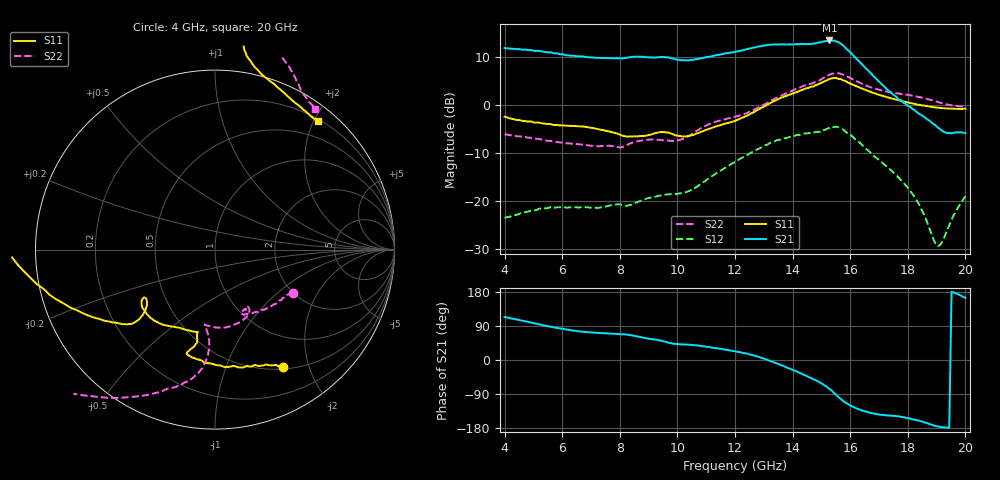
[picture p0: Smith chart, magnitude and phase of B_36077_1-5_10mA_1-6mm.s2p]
!Agilent Technologies,E8364A,US41440284,A.06.04.32
!Agilent E8364A: A.06.04.32
!Date: Wednesday, May 24, 2023 11:18:08
!Correction: S11(Full 2 Port(1,2)) S21(Full 2 Port(1,2)) S12(Full 2 Port(1,2)) S22(Full 2 Port(1,2))
!S2P File: Measurements: S11, S21, S12, S22:
# Hz S  RI  R 50
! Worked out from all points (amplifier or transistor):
!   201 points, 4 GHz to 20 GHz, reference 50 ohm
!   highest |S21| = 13.5 dB at 15.28 GHz (marker M1)
!   |S21| within 3 dB of that: 11.45 GHz to 16.08 GHz (4.632 GHz wide, 33.6 % of centre)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
!   unconditionally stable (mu >= 1): 6.781 GHz to 8.693 GHz; 19.71 GHz to end of sweep
!   at 6.64 GHz: K = 0.99, MSG = 15.8 dB, |S12| = -21.4 dB
!   at 12 GHz: K = 0.08, MSG = 11.5 dB, |S12| = -11.8 dB
!   at 20 GHz: K = 1.01, MAG = 6.0 dB, |S12| = -19.0 dB
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4e9  0.3801 -0.6563  -1.564 3.638  0.0272 0.0598  0.4329 -0.2403
5.52e9  -0.0338 -0.6327  0.0935 3.559  0.04 0.0738  0.2521 -0.3401
6.72e9  -0.1584 -0.5773  0.8542 3.121  0.0428 0.0752  0.1473 -0.358
8.16e9  -0.0974 -0.4632  1.176 2.874  0.0238 0.0857  0.1872 -0.3204
9.36e9  -0.3367 -0.3967  1.946 2.505  0.00825 0.1122  0.00367 -0.4341
1e10  -0.398 -0.2673  2.223 1.996  0.00294 0.1179  -0.0549 -0.4222
1.056e10  -0.3781 -0.3095  2.296 1.898  -0.0174 0.1318  -0.032 -0.5084
1.2e10  -0.5488 -0.4083  3.312 1.41  -0.0614 0.2484  -0.1635 -0.7374
1.272e10  -0.8075 -0.3223  3.964 0.741  -0.0577 0.3329  -0.4119 -0.8157
1.336e10  -1.101 -0.0827  4.301 -0.4765  -0.00412 0.4158  -0.851 -0.7854
1.416e10  -1.329 0.3596  3.755 -2.199  0.1194 0.4748  -1.428 -0.456
1.472e10  -1.372 0.7505  2.794 -3.424  0.2551 0.4435  -1.703 0.0295
1.504e10  -1.359 1.083  2.084 -4.11  0.3395 0.4307  -1.871 0.3647
1.528e10  -1.239 1.411  1.109 -4.621  0.4212 0.3959  -1.929 0.7716
1.544e10  -1.033 1.616  0.2191 -4.732  0.4757 0.3433  -1.833 1.111
1.56e10  -0.7494 1.728  -0.6621 -4.524  0.5219 0.2616  -1.622 1.412
1.576e10  -0.4997 1.748  -1.339 -3.988  0.5276 0.1724  -1.322 1.612
1.6e10  -0.245 1.668  -1.787 -3.103  0.4881 0.0705  -0.8999 1.705
1.656e10  0.0724 1.429  -1.739 -1.649  0.3449 -0.0294  -0.2988 1.57
1.736e10  0.1497 1.183  -1.169 -0.776  0.214 -0.0283  0.0154 1.37
1.904e10  0.4217 0.8398  -0.5809 -0.0491  0.0196 0.0272  0.4292 0.99
2e10  0.5747 0.7159  -0.4901 0.141  -0.0569 0.096  0.5592 0.7854
